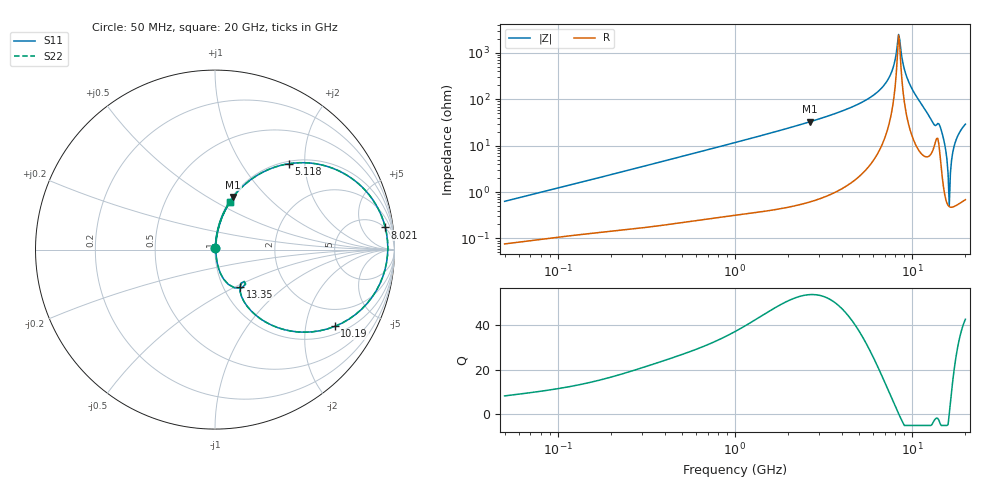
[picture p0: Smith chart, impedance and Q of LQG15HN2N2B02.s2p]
!Murata Part Number: LQG15HN2N2B02
!These Parameters are Measured in Series Mode Connection
!  o--[Z]--o
!Port1  Port2
!  o-------o
!Freq. Start=50[MHz] Stop=20[GHz], 401[Steps]
# Hz S RI R 50
!Freq.(Hz) S11(Real) S11(Imag) S21(Real) S21(Imag) S12(Real) S12(Imag) S22(Real) S22(Imag)
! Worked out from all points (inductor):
!   401 points, 50 MHz to 20 GHz, reference 50 ohm
!   read as one part in series: L = 1.97 nH near 51.52 MHz
!   highest Q = 53.6 at 2.647 GHz (marker M1), where L = 1.97 nH
!   self-resonance near 8.389 GHz
!   S11 on the Smith chart (normalised r, x): 50 MHz: 1.00, +0.01; 5.118 GHz: 1.05, +1.67; 8.021 GHz: 5, +14; 10.19 GHz: 1.27, -2.92; 13.35 GHz: 1.20, -0.53; 20 GHz: 1.01, +0.58
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5e7  0.0008 0.00626  0.9992 -0.00626  0.9992 -0.00626  0.0008 0.00626
1.364002e8  0.00149 0.0164  0.9985 -0.0164  0.9985 -0.0164  0.00149 0.0164
3.721004e8  0.00377 0.0435  0.9962 -0.0435  0.9962 -0.0435  0.00377 0.0435
1e9  0.0165 0.1144  0.9835 -0.1144  0.9835 -0.1144  0.0165 0.1144
2.647493e9  0.1014 0.2927  0.8986 -0.2927  0.8986 -0.2927  0.1014 0.2927
2.728004e9  0.1078 0.3009  0.8922 -0.3009  0.8922 -0.3009  0.1078 0.3009
5.117541e9  0.4127 0.4787  0.5873 -0.4787  0.5873 -0.4787  0.4127 0.4787
6.503449e9  0.6941 0.4366  0.3059 -0.4366  0.3059 -0.4366  0.6941 0.4366
7.442007e9  0.8785 0.2789  0.1215 -0.2789  0.1215 -0.2789  0.8785 0.2789
8.020766e9  0.9487 0.1237  0.0513 -0.1237  0.0513 -0.1237  0.9487 0.1237
8.264682e9  0.9611 0.049  0.0389 -0.049  0.0389 -0.049  0.9611 0.049
8.516016e9  0.9612 -0.0304  0.0388 0.0304  0.0388 0.0304  0.9612 -0.0304
9.178299e9  0.8975 -0.2306  0.1025 0.2306  0.1025 0.2306  0.8975 -0.2306
1.019291e10  0.6679 -0.4277  0.3321 0.4277  0.3321 0.4277  0.6679 -0.4277
1.149051e10  0.3494 -0.4347  0.6506 0.4347  0.6506 0.4347  0.3494 -0.4347
1.334722e10  0.1392 -0.2074  0.8608 0.2074  0.8608 0.2074  0.1392 -0.2074
1.482269e10  0.0483 -0.1648  0.9517 0.1648  0.9517 0.1648  0.0483 -0.1648
1.527346e10  0.02 -0.1048  0.98 0.1048  0.98 0.1048  0.02 -0.1048
1.573793e10  0.00816 -0.0492  0.9918 0.0492  0.9918 0.0492  0.00816 -0.0492
1.621653e10  0.00482 0.00135  0.9952 -0.00135  0.9952 -0.00135  0.00482 0.00135
1.774144e10  0.0226 0.1309  0.9774 -0.1309  0.9774 -0.1309  0.0226 0.1309
2e10  0.0836 0.2653  0.9164 -0.2653  0.9164 -0.2653  0.0836 0.2653
